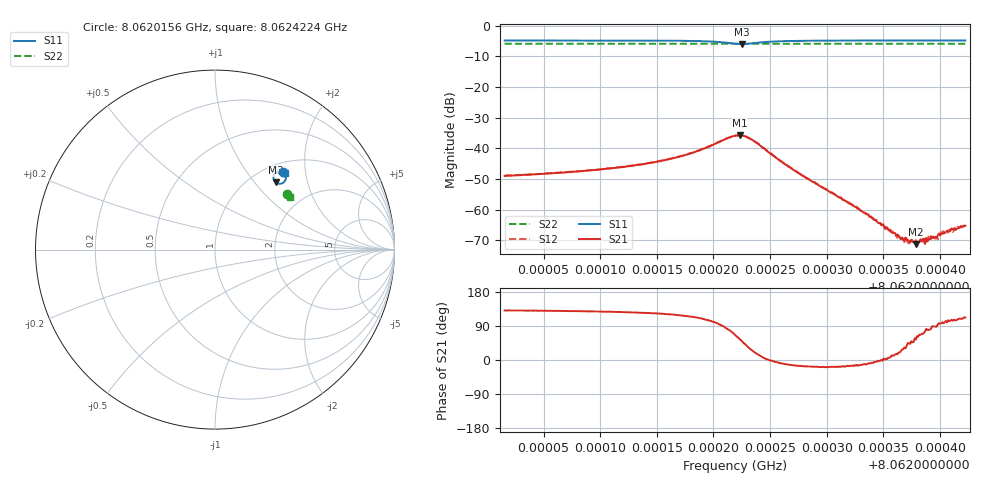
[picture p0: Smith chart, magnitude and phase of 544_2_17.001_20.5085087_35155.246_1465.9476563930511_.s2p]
#  HZ  S  RI  R  50.00
! Rohde & Schwarz Vector Network Analyzer
! Rohde-Schwarz,ZNB20-2Port,1311601062101988,3.16
! Created: UTC 3/20/2024, 11:16:26 PM
! freq[Hz]  re:S11  im:S11  re:S21  im:S21  re:S12  im:S12  re:S22  im:S22
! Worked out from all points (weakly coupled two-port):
!   401 points, 8.0620156 GHz to 8.0624224 GHz, reference 50 ohm
!   highest |S21| = -35.77 dB at 8.0622231 GHz (marker M1); lowest = -71.2 dB at 8.0623787 GHz (marker M2)
!   lowest |S11| = -5.9 dB at 8.0622251 GHz (marker M3), VSWR 3.03, Z = 64.3 + j64.7 ohm
!   |S11| at or under -10 dB: nowhere
!   |S22| runs from -5.9 to -5.9 dB; largest |S21 - S12| = 0.0011
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8.06201564e9  0.378 0.4347  -0.00231 0.00268  -0.00221 0.00285  0.4033 0.3105
8.06208377e9  0.3837 0.4288  -0.00266 0.00334  -0.00249 0.00352  0.4058 0.3068
8.06215191e9  0.3915 0.4177  -0.00329 0.00518  -0.00301 0.00543  0.4083 0.3031
8.06218242e9  0.3951 0.4044  -0.00342 0.00786  -0.00296 0.00813  0.4092 0.3011
8.06221903e9  0.3567 0.3666  0.00651 0.0147  0.0073 0.0143  0.4084 0.2982
8.0622231e9  0.3433 0.3707  0.00925 0.0134  0.0102 0.0131  0.408 0.2984
8.06222513e9  0.3371 0.375  0.0103 0.0123  0.0113 0.0118  0.4079 0.2985
8.0622353e9  0.3257 0.4058  0.0124 0.00518  0.0128 0.0045  0.4082 0.2995
8.06226072e9  0.3527 0.4353  0.00587 -0.000965  0.00587 -0.00133  0.4106 0.2993
8.06228716e9  0.3682 0.4355  0.00273 -0.000877  0.00273 -0.00109  0.4123 0.2979
8.06232479e9  0.378 0.432  0.00109 -0.000258  0.00109 -0.000373  0.4138 0.2956
8.0623553e9  0.3827 0.4293  0.000464 4.73e-05  0.000429 3.26e-05  0.4148 0.2942
8.06236649e9  0.3841 0.4284  0.00031 0.000161  0.000309 0.000166  0.4153 0.2934
8.06236954e9  0.3844 0.4282  0.000304 0.000181  0.00025 0.000196  0.4153 0.2931
8.06237666e9  0.3851 0.4276  0.000198 0.000216  0.000198 0.00022  0.4157 0.2928
8.06237869e9  0.3855 0.4274  0.000161 0.000223  0.000207 0.000244  0.4157 0.2929
8.06238174e9  0.3857 0.4274  0.000117 0.000273  0.00014 0.000266  0.416 0.2926
8.06238886e9  0.3863 0.4268  5.61e-05 0.000297  7.82e-05 0.00028  0.4161 0.2922
8.06239191e9  0.3868 0.4267  4.85e-05 0.000329  3.87e-05 0.000368  0.4162 0.2921
8.06239598e9  0.3872 0.4263  1e-05 0.00036  6.09e-06 0.000353  0.4164 0.292
8.06240208e9  0.3876 0.426  -6.73e-05 0.0004  -1.98e-05 0.00043  0.4166 0.2916
8.06242242e9  0.3894 0.4244  -0.000203 0.000508  -0.00016 0.000502  0.4172 0.2906
